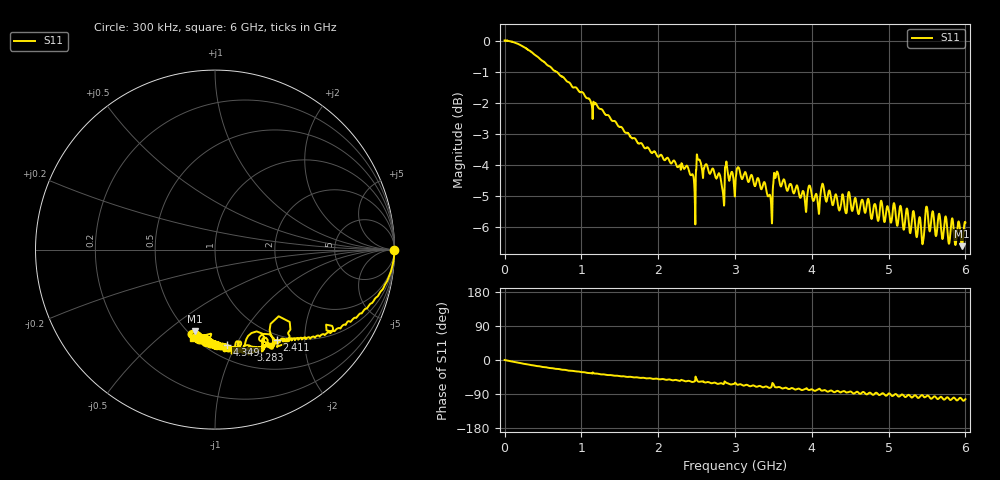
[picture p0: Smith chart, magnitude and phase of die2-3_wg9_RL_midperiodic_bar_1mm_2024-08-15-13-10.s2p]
!Keysight Technologies,P9374A,MY57304198,A.17.20.09
!Date: Thursday, August 15, 2024 13:10:24
!Correction: S11(C  1-Port  )
!S21(C  1-Port  )
!S12(Off)
!S22(Off)
!S2P File: Measurements: S11, S21, S12, S22:
# Hz S  dB  R 50
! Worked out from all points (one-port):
!   6000 points, 300 kHz to 6 GHz, reference 50 ohm
!   lowest |S11| = -6.6 dB at 5.954 GHz (marker M1), VSWR 2.74, Z = 27.2 - j31.5 ohm
!   |S11| at or under -10 dB: nowhere
!   S11 on the Smith chart (normalised r, x): 300 kHz: open; 2.411 GHz: 0.92, -1.47; 3.283 GHz: 0.67, -1.17; 4.349 GHz: 0.62, -0.92; 6 GHz: 0.50, -0.66
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300000  -0.00 -0.0  -200.00 45.0  -200.00 45.0  -200.00 45.0
4.173487e8  -0.50 -15.9  -200.00 45.0  -200.00 45.0  -200.00 45.0
1.000417e9  -1.66 -32.0  -200.00 45.0  -200.00 45.0  -200.00 45.0
1.585485e9  -2.98 -44.4  -200.00 45.0  -200.00 45.0  -200.00 45.0
2.000533e9  -3.76 -50.2  -200.00 45.0  -200.00 45.0  -200.00 45.0
2.410581e9  -4.29 -55.7  -200.00 45.0  -200.00 45.0  -200.00 45.0
2.473589e9  -4.84 -56.8  -200.00 45.0  -200.00 45.0  -200.00 45.0
2.515593e9  -3.82 -56.3  -200.00 45.0  -200.00 45.0  -200.00 45.0
2.772623e9  -4.38 -63.0  -200.00 45.0  -200.00 45.0  -200.00 45.0
2.838631e9  -4.83 -62.9  -200.00 45.0  -200.00 45.0  -200.00 45.0
2.889637e9  -3.92 -60.3  -200.00 45.0  -200.00 45.0  -200.00 45.0
3.00065e9  -4.91 -59.9  -200.00 45.0  -200.00 45.0  -200.00 45.0
3.282683e9  -4.52 -70.7  -200.00 45.0  -200.00 45.0  -200.00 45.0
3.448702e9  -4.98 -73.6  -200.00 45.0  -200.00 45.0  -200.00 45.0
3.509709e9  -4.27 -67.5  -200.00 45.0  -200.00 45.0  -200.00 45.0
3.536713e9  -4.31 -72.2  -200.00 45.0  -200.00 45.0  -200.00 45.0
3.614722e9  -4.60 -75.2  -200.00 45.0  -200.00 45.0  -200.00 45.0
4.000767e9  -5.00 -77.5  -200.00 45.0  -200.00 45.0  -200.00 45.0
4.348807e9  -5.43 -82.5  -200.00 45.0  -200.00 45.0  -200.00 45.0
5.000883e9  -5.46 -88.4  -200.00 45.0  -200.00 45.0  -200.00 45.0
5.953995e9  -6.63 -103.6  -200.00 45.0  -200.00 45.0  -200.00 45.0
6e9  -5.87 -103.4  -200.00 45.0  -200.00 45.0  -200.00 45.0
